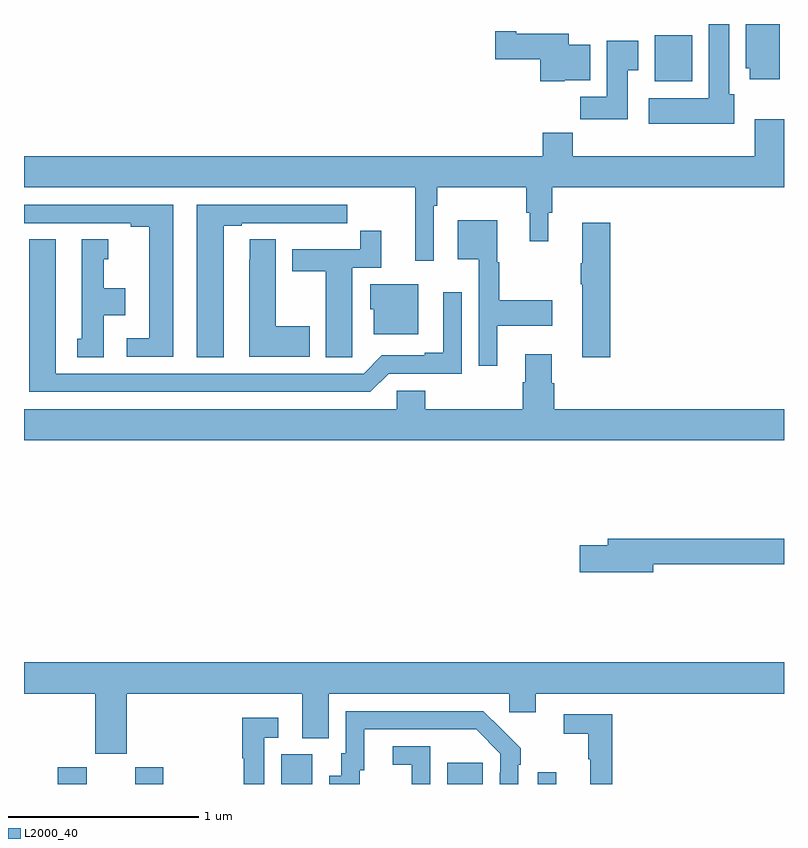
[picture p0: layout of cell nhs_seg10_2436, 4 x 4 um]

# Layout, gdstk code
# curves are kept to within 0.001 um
import gdstk
lib = gdstk.Library(unit=1e-6, precision=1e-09)
def R(c, l, rs):  # rectangles x0, y0, x1, y1
    for r in rs: c.add(gdstk.rectangle(r[:2], r[2:], *l))
def P(c, l, *ps):  # polygons
    for p in ps: c.add(gdstk.Polygon(p, *l))
L2000_40 = (2000, 40)

nhs_seg10_2436 = lib.new_cell('nhs_seg10_2436')
R(nhs_seg10_2436, L2000_40, [(241.178,1306.5,241.33,1306.587), (241.586,1306.5,241.734,1306.587), (242.354,1306.5,242.518,1306.656), (243.227,1306.5,243.415,1306.612), (243.705,1306.5,243.801,1306.561), (244.319,1310.198,244.516,1310.44)])
P(nhs_seg10_2436, L2000_40, [(244.978,1310.5),(244.799,1310.5),(244.799,1310.268),(244.82,1310.268),(244.82,1310.208),(244.978,1310.208)],
  [(244.738,1310.13),(244.711,1310.13),(244.711,1310.5),(244.604,1310.5),(244.604,1310.11),(244.287,1310.11),(244.287,1309.976),(244.738,1309.976)],
  [(243.846,1310.204),(243.979,1310.204),(243.979,1310.392),(243.868,1310.392),(243.868,1310.449),(243.592,1310.449),(243.592,1310.462),(243.48,1310.462),(243.48,1310.315),(243.716,1310.315),(243.716,1310.198),(243.846,1310.198)],
  [(244.177,1310.257),(244.234,1310.257),(244.234,1310.413),(244.067,1310.413),(244.067,1310.116),(243.928,1310.116),(243.928,1309.998),(244.177,1309.998)],
  [(243.156,1309.544),(243.176,1309.544),(243.176,1309.64),(243.643,1309.64),(243.643,1309.506),(243.662,1309.506),(243.662,1309.356),(243.76,1309.356),(243.76,1309.506),(243.779,1309.506),(243.779,1309.64),(245,1309.64),(245,1309.999),(244.847,1309.999),(244.847,1309.804),(243.887,1309.804),(243.887,1309.928),(243.731,1309.928),(243.731,1309.804),(241,1309.804),(241,1309.64),(243.059,1309.64),(243.059,1309.254),(243.156,1309.254)],
  [(242.05,1309.437),(242.146,1309.437),(242.146,1309.452),(242.422,1309.452),(242.422,1309.451),(242.588,1309.451),(242.588,1309.452),(242.701,1309.452),(242.701,1309.548),(241.91,1309.548),(241.91,1308.745),(242.05,1308.745)],
  [(241.786,1309.548),(241,1309.548),(241,1309.452),(241.562,1309.452),(241.562,1309.432),(241.658,1309.432),(241.658,1308.846),(241.542,1308.846),(241.542,1308.75),(241.786,1308.75)],
  [(243.49,1308.911),(243.781,1308.911),(243.781,1309.046),(243.502,1309.046),(243.502,1309.247),(243.49,1309.247),(243.49,1309.468),(243.284,1309.468),(243.284,1309.262),(243.393,1309.262),(243.393,1308.702),(243.49,1308.702)],
  [(244.085,1309.453),(243.938,1309.453),(243.938,1309.24),(243.931,1309.24),(243.931,1309.129),(243.938,1309.129),(243.938,1308.747),(244.085,1308.747)],
  [(242.727,1308.856),(242.728,1308.856),(242.728,1309.218),(242.879,1309.218),(242.879,1309.411),(242.77,1309.411),(242.77,1309.314),(242.411,1309.314),(242.411,1309.198),(242.588,1309.198),(242.588,1308.745),(242.727,1308.745)],
  [(242.503,1308.909),(242.326,1308.909),(242.326,1309.367),(242.187,1309.367),(242.187,1309.259),(242.186,1309.259),(242.186,1308.749),(242.503,1308.749)],
  [(241.42,1308.968),(241.534,1308.968),(241.534,1309.108),(241.42,1309.108),(241.42,1309.263),(241.444,1309.263),(241.444,1309.366),(241.304,1309.366),(241.304,1308.843),(241.28,1308.843),(241.28,1308.745),(241.42,1308.745)],
  [(242.919,1308.66),(243.303,1308.66),(243.303,1309.087),(243.206,1309.087),(243.206,1308.769),(243.11,1308.769),(243.11,1308.756),(242.883,1308.756),(242.787,1308.66),(241.168,1308.66),(241.168,1309.366),(241.028,1309.366),(241.028,1308.564),(242.823,1308.564)],
  [(243.076,1309.129),(242.822,1309.129),(242.822,1308.999),(242.84,1308.999),(242.84,1308.866),(243.076,1308.866)],
  [(245,1308.472),(243.791,1308.472),(243.791,1308.609),(243.778,1308.609),(243.778,1308.763),(243.638,1308.763),(243.638,1308.614),(243.626,1308.614),(243.626,1308.472),(243.113,1308.472),(243.113,1308.57),(242.961,1308.57),(242.961,1308.472),(241,1308.472),(241,1308.308),(245,1308.308)],
  [(244.312,1307.656),(245,1307.656),(245,1307.792),(244.073,1307.792),(244.073,1307.756),(243.924,1307.756),(243.924,1307.614),(244.312,1307.614)],
  [(241.54,1306.976),(242.465,1306.976),(242.465,1306.741),(242.605,1306.741),(242.605,1306.976),(243.555,1306.976),(243.555,1306.878),(243.694,1306.878),(243.694,1306.976),(245,1306.976),(245,1307.14),(241,1307.14),(241,1306.976),(241.376,1306.976),(241.376,1306.659),(241.54,1306.659)],
  [(242.767,1306.572),(242.791,1306.572),(242.791,1306.788),(243.379,1306.788),(243.507,1306.659),(243.507,1306.559),(243.504,1306.559),(243.504,1306.5),(243.6,1306.5),(243.6,1306.601),(243.615,1306.601),(243.615,1306.689),(243.418,1306.884),(242.694,1306.884),(242.694,1306.662),(242.669,1306.662),(242.669,1306.543),(242.606,1306.543),(242.606,1306.5),(242.767,1306.5)],
  [(244.097,1306.866),(243.84,1306.866),(243.84,1306.765),(243.969,1306.765),(243.969,1306.629),(243.98,1306.629),(243.98,1306.5),(244.097,1306.5)],
  [(242.265,1306.743),(242.338,1306.743),(242.338,1306.849),(242.149,1306.849),(242.149,1306.636),(242.157,1306.636),(242.157,1306.5),(242.265,1306.5)],
  [(243.138,1306.698),(242.94,1306.698),(242.94,1306.602),(243.042,1306.602),(243.042,1306.5),(243.138,1306.5)])

lib.write_gds('nhs_seg10_2436.gds')
